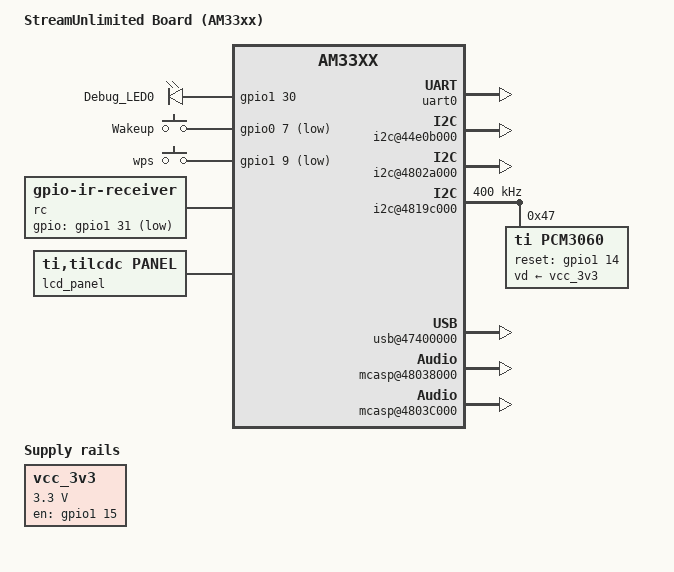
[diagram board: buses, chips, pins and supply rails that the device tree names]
/*
 * This program is free software; you can redistribute it and/or modify
 * it under the terms of the GNU General Public License version 2 as
 * published by the Free Software Foundation.
 */

/ {
	model = "StreamUnlimited Board (AM33xx)";
	compatible = "ti,am335x-sue-demo", "ti,am33xx";

	chosen {
		bootargs = "console=ttyO0,115200n8";
	};

	am3358_pinmux: pinmux@44e10800 {
		pinctrl-names = "default";
		pinctrl-0 = <&clk32kHz_out &en_3v3_gpio &gpio_out_pins &gpio_phy_reset_pins>;

		en_3v3_gpio: en_3v3_gpio_pins {
				pinctrl-single,pins = <
				0x3c  0x3f	/* gpmc_ad15 -> gpio1_15 (LCD_DATA_16) EN_3V3-out*/
			>;
		};

		spi0_pins: pinmux_spi0_pins {
			pinctrl-single,pins = <
				0x150 0x28	/* SPI0_CLK */
				0x154 0x38	/* SPI0_D0  */
				0x158 0x28	/* SPI0_D1  */
				0x15c 0x38	/* SPI0_CS0 */
			>;
		};

		i2c3_pins: pinmux_i2c3_pins {
			pinctrl-single,pins = <
				0x178 0x23	/* I2C2_SDA */
				0x17c 0x23	/* I2C2_SCL */
			>;
		};

		gpio_key_pins: pinmux_gpio_key_pins {
			pinctrl-single,pins = <
				0x164 0x3f	/* gpio0_7 */
				0x168 0x3f	/* gpio1_8 */
				0x16C 0x3f	/* gpio1_9 */
				0x84  0x2f	/* gpio1_31 */
			>;
		};

		gpio_out_pins: pinmux_gpio_out_pins {
			pinctrl-single,pins = <
				0x30 0x07	/* gpmc_ad12 -> gpio1_12 (LCD_DATA_19) -out*/
				0x34 0x07	/* gpmc_ad13 -> gpio1_13 (LCD_DATA_18) -out*/
				0x38 0x07	/* gpmc_ad14 -> gpio1_14 (LCD_DATA_17) -out*/
				0x88 0x07	/* conf_gpmc_csn3 -> gpio2_0 (WIFI_POWER_DN) -out */
			>;
		};

		led_pins: pinmux_led_pins {
			pinctrl-single,pins = <
				0x80 0x7	/* GPIO1_30 */
			>;
		};

		audio_pins: pinmux_audio_pins {
			pinctrl-single,pins = < /*  pin-name     -> function      (S800 name) */
				0x1ac 0x20	/* MCASP0_AHCLKX -> MCASP0_AHCLKX (I2S_MCLK_OUT)- in */
				0x190 0x00	/* MCASP0_ACLKX -> MCASP0_ACLKX  (I2S_BCLK_OUT) - out */
				0x194 0x00	/* MCASP0_FSX -> MCASP0_FSX 	 (I2S_WCLK_OUT) - out */
				0x198 0x00	/* MCASP0_AXR0 -> MCASP0_AXR0    (I2S_DATA_OUT) - out */
				0x1a8 0x20	/* MCASP0_AXR1 -> MCASP0_AXR1    (I2S_DATA_IN)  - in  */
				0x1a0 0x23	/* MCASP0_ACLKR -> MCASP1_ACLKX  (internall SPDIF MCLK_IN)  - in  */
				0x1a4 0x00	/* MCASP0_FSR   -> MCASP0_FSR    (I2S_WCLK_IN)  -out */
				0x19c 0x20	/* MCASP0_AHCLKR -> MCASP0_AHCLKR (I2S_MCLK_IN  -in */
				0x78  0x06	/* GPMC_BE1N ->  MCASP0_ACLKR    (I2S_BCLK_IN)   - out */
				0x108 0x04	/* GMII1_COL -> MCASP1_AXR2      (SPDIF_OUT)     - out */
			>;
		};

		lcdc_pins: pinmux_lcd_pins {
			pinctrl-single,pins = < /*  pin-name     -> function      (S800 name) */
				0xec  0x00		/* lcd_ac_bias_en -> _lcd_ac_bias_en (LCD_EN)- out */
				0xe4  0x00 		/* lcd_hsync -> lcd_hsync (LCD_HSYNC) -out */
				0xe0  0x00 		/* lcd_vsync -> lcd_vsync (LCD_VSYNC) -out */
				0xe8  0x00 		/* lcd_pclk -> lcd_pclk (LCD_PCLK) -out */
				0xdc  0x00 		/* lcd_data15 -> lcd_data15 (LCD_DATA15) -out */
				0xd8  0x00 		/* lcd_data14 -> lcd_data14 (LCD_DATA14) -out */
				0xd4  0x00 		/* lcd_data13 -> lcd_data13 (LCD_DATA13) -out */
				0xd0  0x00 		/* lcd_data12 -> lcd_data12 (LCD_DATA12) -out */
				0xcc  0x00 		/* lcd_data11 -> lcd_data11 (LCD_DATA11) -out */
				0xc8  0x00 		/* lcd_data10 -> lcd_data10 (LCD_DATA10) -out */
				0xc4  0x00 		/* lcd_data9 -> lcd_data9 (LCD_DATA9) -out */
				0xc0  0x00 		/* lcd_data8 -> lcd_data8 (LCD_DATA8) -out */
				0xbc  0x00 		/* lcd_data7 -> lcd_data7 (LCD_DATA7) -out */
				0xb8  0x00 		/* lcd_data6 -> lcd_data6 (LCD_DATA6) -out */
				0xb4  0x00 		/* lcd_data5 -> lcd_data5 (LCD_DATA5) -out */
				0xb0  0x00 		/* lcd_data4 -> lcd_data4 (LCD_DATA4) -out */
				0xac  0x00 		/* lcd_data3 -> lcd_data3 (LCD_DATA3) -out */
				0xa8  0x00 		/* lcd_data2 -> lcd_data2 (LCD_DATA2) -out */
				0xa4  0x00 		/* lcd_data1 -> lcd_data1 (LCD_DATA1) -out */
				0xa0  0x00 		/* lcd_data0 -> lcd_data0 (LCD_DATA0) -out */
			>;
		};
	};

	ocp {
		uart0: serial@44e09000 {
			status = "okay";
		};

		i2c@44e0b000 {
			status = "okay";
		};

		i2c@4802a000 {
			status = "okay";
		};

		i2c@4819c000 {
			status = "okay";
			pinctrl-names = "default";
			pinctrl-0 = <&i2c3_pins>;
			clock-frequency = <400000>;

			pcm3060: pcm3060@47 {
				compatible = "ti,pcm3060";
				reg = <0x47>;
				reset-gpio = <&gpio1 14 0>;
//				cirrus,amutec-eq-bmutec;
				vd-supply = <&vcc_3v3>;
			};
		};


//		spi0: spi@48030000 {
//			status = "okay";
//			ti,pindir-d0-in-d1-out;
//			pinctrl-names = "default";
//			pinctrl-0 = <&spi0_pins>;
//
//			ak4104: ak4104@0 {
//				compatible = "asahi-kasei,ak4104";
//				reg = <0>; /* CS0 */
//				spi-max-frequency = <500000>;
//				reset-gpio = <&gpio1 14 0>;
//			};
//		};

		leds {
			compatible = "gpio-leds";
			pinctrl-names = "default";
			pinctrl-0 = <&led_pins>;

			Debug_LED0 {
				label = "Debug_LED0";
				gpios = <&gpio1 30 0>;
				default-state = "on";
				linux,default-trigger = "none";
			};
		};

		gpio-keys {
			compatible = "gpio-keys";
			pinctrl-names = "default";
			pinctrl-0 = <&gpio_key_pins>;

			Wakeup {
				label = "Wakeup";
				gpios = <&gpio0 7 1>;
				linux,code = <164>; /* KEY_PLAYPAUSE */
				gpio-key,wakeup;
			};

			wps {
				label = "wps";
				gpios = <&gpio1 9 1>;
				linux,code = <0x211>; /* KEY_WPS_BUTTON */
				gpio-key,wakeup;
			};
		};

		usb@47400000 {
			status = "okay";
			port0-mode = <1>;
			port1-mode = <1>;
		};

		mcasp@48038000 {
			status = "okay";
			op-mode = <0>;          /* MCASP_IIS_MODE */
			tdm-slots = <2>; 	/*I2S = 2 channles, other: TDM */
			num-serializer = <4>; 	/*num of serializers*/
			serial-dir = <  1 2 0 0 >; /* 0: INACTIVE, 1: TX, 2: RX */
			tx-num-evt = <2>; 	/*tx FIFO buffer lenght */
			rx-num-evt = <1>; 	/*rx FIFO buffer lenght */
			tx-rx-clk-separate;
		};

		mcasp@4803C000 {
			status = "okay";
			op-mode = <1>;          /* MCASP_DIT_MODE */
			tdm-slots = <2>;
			num-serializer = <4>;
			serial-dir = <  0 0 1 0 >;/* 0: INACTIVE, 1: TX, 2: RX */
			tx-num-evt = <1>;
			rx-num-evt = <0>;
		};
	};

	audio {
		compatible = "sue,am33xx-generic-audio";
		pinctrl-names = "default";
		pinctrl-0 = <&audio_pins>;
		sue,card-name = "Stream Audio";
		sue,invert-wclk;
		sue,early-mclk; /* enables MCLK before pcm3060 initialization */
		clocks = <&si5351a 0>, <&si5351a 2>; /* playback clk, receive clk */

		link@0 {
			sue,name = "analog";
			sue,stream-name = "I2S";

			sue,platform = <&mcasp0>;
			sue,cpu-dai-name = "48038000.mcasp";
			sue,codec = <&pcm3060>;
			sue,codec-dai-name = "pcm3060-hifi";
			sue,mute-amp-pin = <&gpio1 13 0>;
		};
/*
		link@1 {
			sue,name = "digital";
			sue,stream-name = "I2S";

			sue,platform = <&mcasp0>;
			sue,cpu-dai-name = "48038000.mcasp";

			sue,codec = <&ak4104>;
			sue,codec-dai-name = "ak4104-hifi";
		};
*/	};

	vcc_3v3: reg_vcc_3v3 {
		compatible = "regulator-fixed";
		regulator-name = "vdd-3v3";
		regulator-min-microvolt = <3300000>;
		regulator-max-microvolt = <3300000>;
		gpio = <&gpio1 15 0>;
		//regulator-always-on;
		enable-active-high;
		regulator-boot-on;
	};

	rc: gpio_ir_recv {
		compatible = "gpio-ir-receiver";
		gpios = <&gpio1 31 1>;
		linux,rc-map-name = "rc-philips";
	};

	fb: fb@4830e000 {
		compatible = "ti,am33xx-tilcdc";
		reg = <0x4830e000 0x1000>;
		interrupt-parent = <&intc>;
		interrupts = <36>;
		ti,hwmods = "lcdc";
	};

	lcd_panel {
		compatible = "ti,tilcdc,panel";
		pinctrl-names = "default";
		pinctrl-0 = <&lcdc_pins>;
		ti,hwmods = "lcdc";
		panel-info {
			ac-bias           = <255>;
			ac-bias-intrpt    = <0>;
			dma-burst-sz      = <16>;
			bpp               = <16>;
			fdd               = <0x80>;
			sync-edge         = <0>;
			sync-ctrl         = <1>;
			raster-order      = <0>;
			fifo-th           = <0>;
		};

		display-timings {
			native-mode = <&timing_0>;
			timing_0: 800x480px {
				/* 800x480 */
				clock-frequency = <50000000>;
				hactive = <800>;
				vactive = <480>;
				hfront-porch = <0>;
				hback-porch = <87>;
				hsync-len = <0>;
				vback-porch = <32>;
				vfront-porch = <0>;
				vsync-len = <0>;
				hsync-active = <0>;
				vsync-active = <0>;
				/*pixelclk-active = <1>;*/
				/*de-active = <1>;*/
			};
		};
	};
};

&si5351a {
	/*
	 * overwrite clkout0 configuration with:
	 * - 8mA output drive strength
	 * - pll0 as clock source of multisynth0
	 * - multisynth0 as clock source of output divider
	 * - multisynth0 can change pll0
	 */
	clkout0 {
		reg = <0>;
		silabs,drive-strength = <8>;
		silabs,multisynth-source = <0>;
		silabs,clock-source = <0>;
		silabs,pll-master;
	};

	/*
	 *  master clock for aux-in codec i2s
	 * overwrite clkout2 configuration with:
	 * - 8mA output drive strength
	 * - pll0 as clock source of multisynth0
	 * - multisynth0 as clock source of output divider
	 * - multisynth0 can change pll0
	 */

	clkout2 {
		reg = <2>;
		silabs,drive-strength = <8>;
		silabs,multisynth-source = <0>;
		silabs,clock-source = <0>;
		silabs,pll-master;
	};
};
